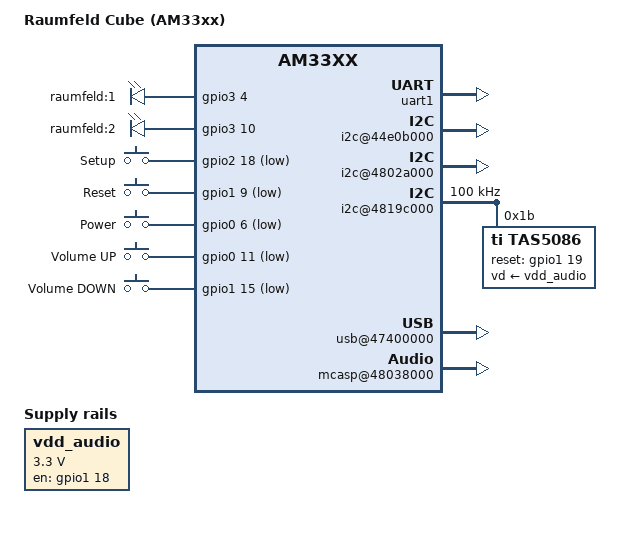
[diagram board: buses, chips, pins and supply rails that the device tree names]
/*
 * This program is free software; you can redistribute it and/or modify
 * it under the terms of the GNU General Public License version 2 as
 * published by the Free Software Foundation.
 */

/ {
	model = "Raumfeld Cube (AM33xx)";
	compatible = "ti,am335x-raumfeld-cube", "ti,am33xx";

	chosen {
		bootargs = "console=ttyO0,115200n8";
	};

	am3358_pinmux: pinmux@44e10800 {
		spi0_pins: pinmux_spi0_pins {
			pinctrl-single,pins = <
				0x150 0x28	/* SPI0_CLK */
				0x154 0x18	/* SPI0_D0  */
				0x158 0x38	/* SPI0_D1  */
				0x15C 0x18	/* SPI0_CS0 */
			>;
		};

		i2c3_pins: pinmux_i2c3_pins {
			pinctrl-single,pins = <
				0x178 0x23	/* I2C2_SDA */
				0x17c 0x23	/* I2C2_SCL */
			>;
		};

		led_pins: pinmux_led_pins {
			pinctrl-single,pins = <
				0x80 0x7	/* GPIO1_30 */
				0x84 0x7	/* GPIO1_31 */
			>;
		};

		button_pins: pinmux_button_pins {
			pinctrl-single,pins = <
				0xdc 0x77	/* GPIO0_11 */
				0x3c 0x77	/* GPIO1_15 */
			>;
		};

		audio_pins: audio_pins_multichannel {
			pinctrl-single,pins = <
				0x1ac 0x28	/* MCASP0_MCLK_OUT */
				0x190 0x08	/* MCASP0_BCLK_OUT */
				0x194 0x08	/* MCASP0_WCLK_OUT */
				0x198 0x08	/* MCASP0_DATA_OUT */
				0x1a8 0x28	/* MCASP0_DATA_IN  */
				0x078 0x26	/* MCASP0_BCLK_IN  */
				0x1a4 0x28	/* MCASP0_WCLK_IN  */
				0x19c 0x28	/* MCASP0_MCLK_IN  */
				0x1a0 0x27	/* MCASP0_BCLK_IN -> GPIO */

				0xd0  0x04	/* lcd_data12 -> MCASP0_AXR2 (LCD_DATA12) - out */
				//0xd4  0x04	/* lcd_data13 -> MCASP0_AXR3 (LCD_DATA13) - out */
				//0xd8  0x03	/* lcd_data14 -> MCASP0_AXR1 (LCD_DATA14) - out */

				0x40 0x3f	/* gpmc_a0.-> gpio1_16, - (overtemperrature) - in*/
				0x4c 0x7	/* gpmc_a3.-> gpio1_19, - (/reset) - out*/
				0x58 0x3f	/* gpmc_a6.-> gpio1_22, - (shutdown) - in*/
			>;
		};
	};

	ocp {
		uart1: serial@44e09000 {
			status = "okay";
		};

		i2c@44e0b000 {
			status = "okay";
		};

		i2c@4802a000 {
			status = "okay";
		};

		i2c@4819c000 {
			status = "okay";
			pinctrl-names = "default";
			pinctrl-0 = <&i2c3_pins>;
			clock-frequency = <100000>;

			tas5086: tas5086@27 {
				compatible = "ti,tas5086";
				reg = <0x1b>;
				reset-gpio = <&gpio1 19 0>;
				vd-supply = <&vdd_audio>;
			};
		};

		leds {
			compatible = "gpio-leds";
			pinctrl-names = "default";
			pinctrl-0 = <&led_pins>;

			d1 {
				label = "raumfeld:1";
				gpios = <&gpio3 4 0>;
			};

			d2 {
				label = "raumfeld:2";
				gpios = <&gpio3 10 0>;
				default-state = "on";
			};
		};

		gpio-keys {
			compatible = "gpio-keys";
			pinctrl-names = "default";
			pinctrl-0 = <&button_pins>;

			setup {
				label = "Setup";
				gpios = <&gpio2 18 1>;
				linux,code = <141>; /* KEY_SETUP */
				gpio-key,wakeup;
			};

			reset {
				label = "Reset";
				gpios = <&gpio1 9 1>;
				linux,code = <61>; /* KEY_F3 */
				gpio-key,wakeup;
			};

			power {
				label = "Power";
				gpios = <&gpio0 6 1>;
				linux,code = <116>; /* KEY_POWER */
				gpio-key,wakeup;
			};

			vol-up {
				label = "Volume UP";
				gpios = <&gpio0 11 1>;
				linux,code = <115>; /* KEY_VOLUMEUP */
				gpio-key,wakeup;
			};

			vol-down {
				label = "Volume DOWN";
				gpios = <&gpio1 15 1>;
				linux,code = <114>; /* KEY_VOLUMEDOWN */
				gpio-key,wakeup;
			};
		};

		usb@47400000 {
			status = "okay";
			port0-mode = <1>;
		};

		mcasp@48038000 {
			status = "okay";
			op-mode = <0>;	  /* MCASP_IIS_MODE */
			tdm-slots = <2>;
			num-serializer = <16>;
			serial-dir = <  1 2 1 0 /* 0: INACTIVE, 1: TX, 2: RX */
					0 0 0 0
					0 0 0 0
					0 0 0 0 >;
			tx-num-evt = <1>;
			rx-num-evt = <1>;
		};

		ak5386: ak5386@0 {
			compatible = "asahi-kasei,ak5386";
			/* reset-gpio = <&gpio1 19 0>; */
		};
	};

	audio {
		compatible = "sue,am33xx-generic-audio";
		pinctrl-names = "default";
		pinctrl-0 = <&audio_pins>;
		sue,card-name = "Cube";
		clocks = <&si5351a 0>;

		link@0 {
			sue,name = "analog output";
			sue,stream-name = "I2S";

			sue,platform = <&mcasp0>;
			sue,cpu-dai-name = "48038000.mcasp";

			sue,codec = <&tas5086>;
			sue,codec-dai-name = "tas5086-hifi";
		};

		link@1 {
			sue,name = "analog input";
			sue,stream-name = "I2S";

			sue,platform = <&mcasp0>;
			sue,cpu-dai-name = "48038000.mcasp";

			sue,codec = <&ak5386>;
			sue,codec-dai-name = "ak5386-hifi";
		};
	};

	vdd_audio: vdd_audio_regulator {
		compatible = "regulator-fixed";
		regulator-name = "vdd-audio";
		regulator-min-microvolt = <3300000>;
		regulator-max-microvolt = <3300000>;
		gpio = <&gpio1 18 0>;
		enable-active-high;
		regulator-boot-on;
	};
};

&cpsw_emac0 {
	phy_id = <&davinci_mdio 4>;
};
